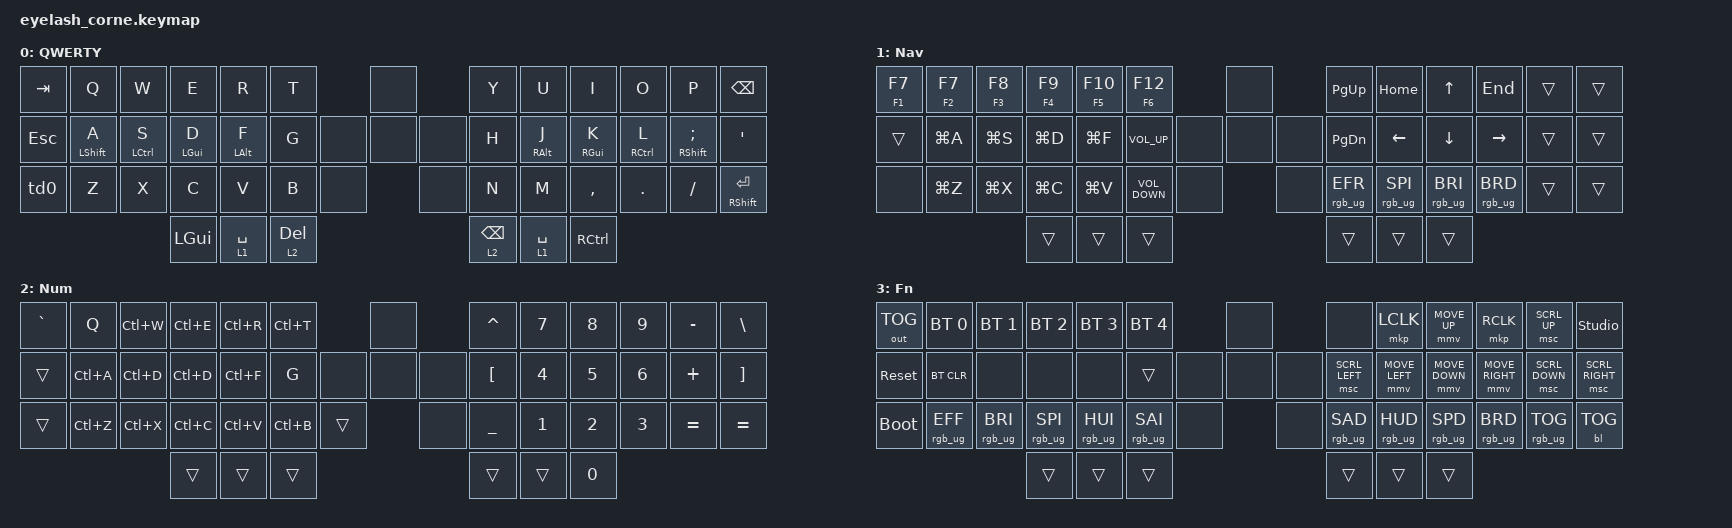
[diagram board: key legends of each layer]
#define ZMK_POINTING_DEFAULT_MOVE_VAL 1200  // 600
#define ZMK_POINTING_DEFAULT_SCRL_VAL 25   // 10

#include <input/processors.dtsi>
#include <zephyr/dt-bindings/input/input-event-codes.h>
#include <behaviors.dtsi>
#include <dt-bindings/zmk/backlight.h>
#include <dt-bindings/zmk/bt.h>
#include <dt-bindings/zmk/keys.h>
#include <dt-bindings/zmk/outputs.h>
#include <dt-bindings/zmk/pointing.h>
#include <dt-bindings/zmk/rgb.h>

&mmv_input_listener { input-processors = <&zip_xy_scaler 2 1>; };

&msc_input_listener { input-processors = <&zip_scroll_scaler 2 1>; };

&msc {
};

&mmv {
    time-to-max-speed-ms = <500>;
    acceleration-exponent = <1>;
    trigger-period-ms = <16>;
};

/ {
    behaviors {
        td0: td0 {
            compatible = "zmk,behavior-tap-dance";
            display-name = "Shift/Caps Lock Tap Dance";
            #binding-cells = <0>;
            bindings = <&kp LEFT_SHIFT>, <&kp CAPS>;
        };

        LHRM: LHRM {
            compatible = "zmk,behavior-hold-tap";
            label = "LHRM";
            bindings = <&kp>, <&kp>;

            #binding-cells = <2>;
            tapping-term-ms = <500>;
            require-prior-idle-ms = <50>;
            flavor = "balanced";
            hold-trigger-on-release;
        };

        RHRM: RHRM {
            compatible = "zmk,behavior-hold-tap";
            label = "RHRM";
            bindings = <&kp>, <&kp>;

            #binding-cells = <2>;
            tapping-term-ms = <500>;
            require-prior-idle-ms = <50>;
            flavor = "balanced";
            hold-trigger-on-release;
        };

        EQ_PLUS: EQ_PLUS {
            compatible = "zmk,behavior-mod-morph";
            label = "EQ_PLUS";
            bindings = <&kp EQUAL>, <&kp PLUS>;

            #binding-cells = <0>;
            mods = <(MOD_LCTL)>;
            keep-mods = <(MOD_RCTL)>;
        };
    };

    rgb_encoder: rgb_encoder {
        compatible = "zmk,behavior-sensor-rotate";
        #sensor-binding-cells = <0>;
        bindings = <&rgb_ug RGB_BRI>, <&rgb_ug RGB_BRD>;
    };

    scroll_encoder: scroll_encoder {
        compatible = "zmk,behavior-sensor-rotate";
        #sensor-binding-cells = <0>;
        bindings = <&msc SCRL_DOWN>, <&msc SCRL_UP>;

        tap-ms = <100>;
    };

    keymap {
        compatible = "zmk,keymap";

        layer_0 {
            display-name = "QWERTY";
            bindings = <
&kp TAB  &kp Q          &kp W          &kp E             &kp R             &kp T                         &none         &kp Y            &kp U              &kp I              &kp O                  &kp P                        &kp BSPC
&kp ESC  &LHRM LSHFT A  &LHRM LCTRL S  &LHRM LEFT_GUI D  &LHRM LEFT_ALT F  &kp G                  &none  &none  &none  &kp H            &RHRM RIGHT_ALT J  &RHRM RIGHT_GUI K  &RHRM RIGHT_CONTROL L  &RHRM RIGHT_SHIFT SEMICOLON  &kp SQT
&td0     &kp Z          &kp X          &kp C             &kp V             &kp B         &none           &none         &kp N            &kp M              &kp COMMA          &kp DOT                &kp FSLH                     &mt RIGHT_SHIFT ENTER
                                       &kp LGUI          &lt 1 SPACE       &lt 2 DELETE                                &lt 2 BACKSPACE  &lt 1 SPACE        &kp RCTRL
            >;
        };

        layer_1 {
            display-name = "Nav";
            bindings = <
&mt F1 F7  &mt F2 F7  &mt F3 F8  &mt F4 F9  &mt F5 F10  &mt F6 F12                         &none         &kp PG_UP        &kp HOME         &kp UP           &kp END          &trans  &trans
&trans     &kp LG(A)  &kp LG(S)  &kp LG(D)  &kp LG(F)   &kp C_VOLUME_UP             &none  &none  &none  &kp PG_DN        &kp LEFT         &kp DOWN         &kp RIGHT        &trans  &trans
&none      &kp LG(Z)  &kp LG(X)  &kp LG(C)  &kp LG(V)   &kp C_VOLUME_DOWN  &none           &none         &rgb_ug RGB_EFR  &rgb_ug RGB_SPI  &rgb_ug RGB_BRI  &rgb_ug RGB_BRD  &trans  &trans
                                 &trans     &trans      &trans                                           &trans           &trans           &trans
            >;
        };

        layer_2 {
            display-name = "Num";
            bindings = <
&kp GRAVE  &kp Q      &kp LC(W)  &kp LC(E)  &kp LC(R)  &kp LC(T)                   &none         &kp CARET         &kp N7  &kp N8        &kp N9  &kp MINUS  &kp BACKSLASH
&trans     &kp LC(A)  &kp LC(D)  &kp LC(D)  &kp LC(F)  &kp G                &none  &none  &none  &kp LEFT_BRACKET  &kp N4  &kp N5        &kp N6  &kp PLUS   &kp RIGHT_BRACKET
&trans     &kp LC(Z)  &kp LC(X)  &kp LC(C)  &kp LC(V)  &kp LC(B)  &trans           &none         &kp UNDER         &kp N1  &kp N2        &kp N3  &kp EQUAL  &kp EQUAL
                                 &trans     &trans     &trans                                    &trans            &trans  &kp NUMBER_0
            >;
        };

        layer_3 {
            display-name = "Fn";
            bindings = <
&out OUT_TOG  &bt BT_SEL 0     &bt BT_SEL 1     &bt BT_SEL 2     &bt BT_SEL 3     &bt BT_SEL 4                     &none         &none            &mkp LCLK        &mmv MOVE_UP     &mkp RCLK        &msc SCRL_UP     &studio_unlock
&sys_reset    &bt BT_CLR       &none            &none            &none            &trans                    &none  &none  &none  &msc SCRL_LEFT   &mmv MOVE_LEFT   &mmv MOVE_DOWN   &mmv MOVE_RIGHT  &msc SCRL_DOWN   &msc SCRL_RIGHT
&bootloader   &rgb_ug RGB_EFF  &rgb_ug RGB_BRI  &rgb_ug RGB_SPI  &rgb_ug RGB_HUI  &rgb_ug RGB_SAI  &none           &none         &rgb_ug RGB_SAD  &rgb_ug RGB_HUD  &rgb_ug RGB_SPD  &rgb_ug RGB_BRD  &rgb_ug RGB_TOG  &bl BL_TOG
                                                &trans           &trans           &trans                                         &trans           &trans           &trans
            >;
        };
    };

    conditional_layers {
        compatible = "zmk,conditional-layers";

        L3 {
            if-layers = <1 2>;
            then-layer = <3>;
        };
    };
};
